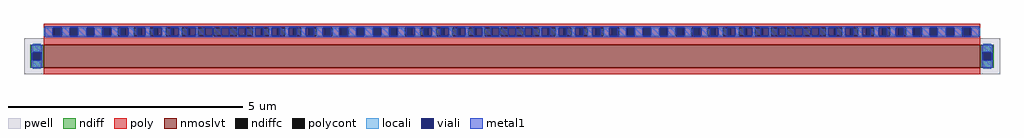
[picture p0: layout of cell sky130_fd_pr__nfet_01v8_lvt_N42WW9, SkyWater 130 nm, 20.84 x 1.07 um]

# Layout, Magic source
magic
tech sky130A
magscale 1 2
<< pwell >>
rect -2084 -107 2084 45
<< nmoslvt >>
rect -2000 -81 2000 19
<< ndiff >>
rect -2058 -14 -2000 19
rect -2058 -48 -2046 -14
rect -2012 -48 -2000 -14
rect -2058 -81 -2000 -48
rect 2000 -14 2058 19
rect 2000 -48 2012 -14
rect 2046 -48 2058 -14
rect 2000 -81 2058 -48
<< ndiffc >>
rect -2046 -48 -2012 -14
rect 2012 -48 2046 -14
<< poly >>
rect -2000 91 2000 107
rect -2000 57 -1955 91
rect -1921 57 -1887 91
rect -1853 57 -1819 91
rect -1785 57 -1751 91
rect -1717 57 -1683 91
rect -1649 57 -1615 91
rect -1581 57 -1547 91
rect -1513 57 -1479 91
rect -1445 57 -1411 91
rect -1377 57 -1343 91
rect -1309 57 -1275 91
rect -1241 57 -1207 91
rect -1173 57 -1139 91
rect -1105 57 -1071 91
rect -1037 57 -1003 91
rect -969 57 -935 91
rect -901 57 -867 91
rect -833 57 -799 91
rect -765 57 -731 91
rect -697 57 -663 91
rect -629 57 -595 91
rect -561 57 -527 91
rect -493 57 -459 91
rect -425 57 -391 91
rect -357 57 -323 91
rect -289 57 -255 91
rect -221 57 -187 91
rect -153 57 -119 91
rect -85 57 -51 91
rect -17 57 17 91
rect 51 57 85 91
rect 119 57 153 91
rect 187 57 221 91
rect 255 57 289 91
rect 323 57 357 91
rect 391 57 425 91
rect 459 57 493 91
rect 527 57 561 91
rect 595 57 629 91
rect 663 57 697 91
rect 731 57 765 91
rect 799 57 833 91
rect 867 57 901 91
rect 935 57 969 91
rect 1003 57 1037 91
rect 1071 57 1105 91
rect 1139 57 1173 91
rect 1207 57 1241 91
rect 1275 57 1309 91
rect 1343 57 1377 91
rect 1411 57 1445 91
rect 1479 57 1513 91
rect 1547 57 1581 91
rect 1615 57 1649 91
rect 1683 57 1717 91
rect 1751 57 1785 91
rect 1819 57 1853 91
rect 1887 57 1921 91
rect 1955 57 2000 91
rect -2000 19 2000 57
rect -2000 -107 2000 -81
<< polycont >>
rect -1955 57 -1921 91
rect -1887 57 -1853 91
rect -1819 57 -1785 91
rect -1751 57 -1717 91
rect -1683 57 -1649 91
rect -1615 57 -1581 91
rect -1547 57 -1513 91
rect -1479 57 -1445 91
rect -1411 57 -1377 91
rect -1343 57 -1309 91
rect -1275 57 -1241 91
rect -1207 57 -1173 91
rect -1139 57 -1105 91
rect -1071 57 -1037 91
rect -1003 57 -969 91
rect -935 57 -901 91
rect -867 57 -833 91
rect -799 57 -765 91
rect -731 57 -697 91
rect -663 57 -629 91
rect -595 57 -561 91
rect -527 57 -493 91
rect -459 57 -425 91
rect -391 57 -357 91
rect -323 57 -289 91
rect -255 57 -221 91
rect -187 57 -153 91
rect -119 57 -85 91
rect -51 57 -17 91
rect 17 57 51 91
rect 85 57 119 91
rect 153 57 187 91
rect 221 57 255 91
rect 289 57 323 91
rect 357 57 391 91
rect 425 57 459 91
rect 493 57 527 91
rect 561 57 595 91
rect 629 57 663 91
rect 697 57 731 91
rect 765 57 799 91
rect 833 57 867 91
rect 901 57 935 91
rect 969 57 1003 91
rect 1037 57 1071 91
rect 1105 57 1139 91
rect 1173 57 1207 91
rect 1241 57 1275 91
rect 1309 57 1343 91
rect 1377 57 1411 91
rect 1445 57 1479 91
rect 1513 57 1547 91
rect 1581 57 1615 91
rect 1649 57 1683 91
rect 1717 57 1751 91
rect 1785 57 1819 91
rect 1853 57 1887 91
rect 1921 57 1955 91
<< locali >>
rect -2000 57 -1961 91
rect -1921 57 -1889 91
rect -1853 57 -1819 91
rect -1783 57 -1751 91
rect -1711 57 -1683 91
rect -1639 57 -1615 91
rect -1567 57 -1547 91
rect -1495 57 -1479 91
rect -1423 57 -1411 91
rect -1351 57 -1343 91
rect -1279 57 -1275 91
rect -1173 57 -1169 91
rect -1105 57 -1097 91
rect -1037 57 -1025 91
rect -969 57 -953 91
rect -901 57 -881 91
rect -833 57 -809 91
rect -765 57 -737 91
rect -697 57 -665 91
rect -629 57 -595 91
rect -559 57 -527 91
rect -487 57 -459 91
rect -415 57 -391 91
rect -343 57 -323 91
rect -271 57 -255 91
rect -199 57 -187 91
rect -127 57 -119 91
rect -55 57 -51 91
rect 51 57 55 91
rect 119 57 127 91
rect 187 57 199 91
rect 255 57 271 91
rect 323 57 343 91
rect 391 57 415 91
rect 459 57 487 91
rect 527 57 559 91
rect 595 57 629 91
rect 665 57 697 91
rect 737 57 765 91
rect 809 57 833 91
rect 881 57 901 91
rect 953 57 969 91
rect 1025 57 1037 91
rect 1097 57 1105 91
rect 1169 57 1173 91
rect 1275 57 1279 91
rect 1343 57 1351 91
rect 1411 57 1423 91
rect 1479 57 1495 91
rect 1547 57 1567 91
rect 1615 57 1639 91
rect 1683 57 1711 91
rect 1751 57 1783 91
rect 1819 57 1853 91
rect 1889 57 1921 91
rect 1961 57 2000 91
rect -2046 -14 -2012 23
rect -2046 -85 -2012 -48
rect 2012 -14 2046 23
rect 2012 -85 2046 -48
<< viali >>
rect -1961 57 -1955 91
rect -1955 57 -1927 91
rect -1889 57 -1887 91
rect -1887 57 -1855 91
rect -1817 57 -1785 91
rect -1785 57 -1783 91
rect -1745 57 -1717 91
rect -1717 57 -1711 91
rect -1673 57 -1649 91
rect -1649 57 -1639 91
rect -1601 57 -1581 91
rect -1581 57 -1567 91
rect -1529 57 -1513 91
rect -1513 57 -1495 91
rect -1457 57 -1445 91
rect -1445 57 -1423 91
rect -1385 57 -1377 91
rect -1377 57 -1351 91
rect -1313 57 -1309 91
rect -1309 57 -1279 91
rect -1241 57 -1207 91
rect -1169 57 -1139 91
rect -1139 57 -1135 91
rect -1097 57 -1071 91
rect -1071 57 -1063 91
rect -1025 57 -1003 91
rect -1003 57 -991 91
rect -953 57 -935 91
rect -935 57 -919 91
rect -881 57 -867 91
rect -867 57 -847 91
rect -809 57 -799 91
rect -799 57 -775 91
rect -737 57 -731 91
rect -731 57 -703 91
rect -665 57 -663 91
rect -663 57 -631 91
rect -593 57 -561 91
rect -561 57 -559 91
rect -521 57 -493 91
rect -493 57 -487 91
rect -449 57 -425 91
rect -425 57 -415 91
rect -377 57 -357 91
rect -357 57 -343 91
rect -305 57 -289 91
rect -289 57 -271 91
rect -233 57 -221 91
rect -221 57 -199 91
rect -161 57 -153 91
rect -153 57 -127 91
rect -89 57 -85 91
rect -85 57 -55 91
rect -17 57 17 91
rect 55 57 85 91
rect 85 57 89 91
rect 127 57 153 91
rect 153 57 161 91
rect 199 57 221 91
rect 221 57 233 91
rect 271 57 289 91
rect 289 57 305 91
rect 343 57 357 91
rect 357 57 377 91
rect 415 57 425 91
rect 425 57 449 91
rect 487 57 493 91
rect 493 57 521 91
rect 559 57 561 91
rect 561 57 593 91
rect 631 57 663 91
rect 663 57 665 91
rect 703 57 731 91
rect 731 57 737 91
rect 775 57 799 91
rect 799 57 809 91
rect 847 57 867 91
rect 867 57 881 91
rect 919 57 935 91
rect 935 57 953 91
rect 991 57 1003 91
rect 1003 57 1025 91
rect 1063 57 1071 91
rect 1071 57 1097 91
rect 1135 57 1139 91
rect 1139 57 1169 91
rect 1207 57 1241 91
rect 1279 57 1309 91
rect 1309 57 1313 91
rect 1351 57 1377 91
rect 1377 57 1385 91
rect 1423 57 1445 91
rect 1445 57 1457 91
rect 1495 57 1513 91
rect 1513 57 1529 91
rect 1567 57 1581 91
rect 1581 57 1601 91
rect 1639 57 1649 91
rect 1649 57 1673 91
rect 1711 57 1717 91
rect 1717 57 1745 91
rect 1783 57 1785 91
rect 1785 57 1817 91
rect 1855 57 1887 91
rect 1887 57 1889 91
rect 1927 57 1955 91
rect 1955 57 1961 91
rect -2046 -48 -2012 -14
rect 2012 -48 2046 -14
<< metal1 >>
rect -1996 91 1996 97
rect -1996 57 -1961 91
rect -1927 57 -1889 91
rect -1855 57 -1817 91
rect -1783 57 -1745 91
rect -1711 57 -1673 91
rect -1639 57 -1601 91
rect -1567 57 -1529 91
rect -1495 57 -1457 91
rect -1423 57 -1385 91
rect -1351 57 -1313 91
rect -1279 57 -1241 91
rect -1207 57 -1169 91
rect -1135 57 -1097 91
rect -1063 57 -1025 91
rect -991 57 -953 91
rect -919 57 -881 91
rect -847 57 -809 91
rect -775 57 -737 91
rect -703 57 -665 91
rect -631 57 -593 91
rect -559 57 -521 91
rect -487 57 -449 91
rect -415 57 -377 91
rect -343 57 -305 91
rect -271 57 -233 91
rect -199 57 -161 91
rect -127 57 -89 91
rect -55 57 -17 91
rect 17 57 55 91
rect 89 57 127 91
rect 161 57 199 91
rect 233 57 271 91
rect 305 57 343 91
rect 377 57 415 91
rect 449 57 487 91
rect 521 57 559 91
rect 593 57 631 91
rect 665 57 703 91
rect 737 57 775 91
rect 809 57 847 91
rect 881 57 919 91
rect 953 57 991 91
rect 1025 57 1063 91
rect 1097 57 1135 91
rect 1169 57 1207 91
rect 1241 57 1279 91
rect 1313 57 1351 91
rect 1385 57 1423 91
rect 1457 57 1495 91
rect 1529 57 1567 91
rect 1601 57 1639 91
rect 1673 57 1711 91
rect 1745 57 1783 91
rect 1817 57 1855 91
rect 1889 57 1927 91
rect 1961 57 1996 91
rect -1996 51 1996 57
rect -2052 -14 -2006 19
rect -2052 -48 -2046 -14
rect -2012 -48 -2006 -14
rect -2052 -81 -2006 -48
rect 2006 -14 2052 19
rect 2006 -48 2012 -14
rect 2046 -48 2052 -14
rect 2006 -81 2052 -48
<< end >>
